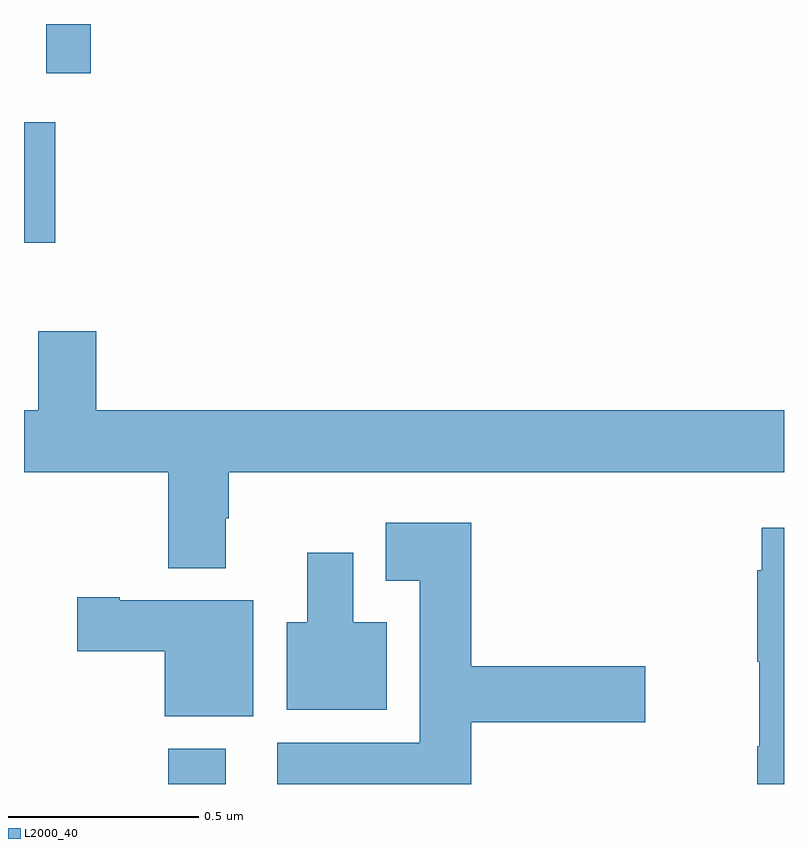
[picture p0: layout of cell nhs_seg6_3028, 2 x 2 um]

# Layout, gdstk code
import gdstk
lib = gdstk.Library(unit=1e-6, precision=1e-09)
def R(c, l, rs):  # rectangles x0, y0, x1, y1
    for r in rs: c.add(gdstk.rectangle(r[:2], r[2:], *l))
def P(c, l, *ps):  # polygons
    for p in ps: c.add(gdstk.Polygon(p, *l))
L2000_40 = (2000, 40)

nhs_seg6_3028 = lib.new_cell('nhs_seg6_3028')
R(nhs_seg6_3028, L2000_40, [(151.379,962.5,151.531,962.593), (151,963.924,151.082,964.242), (151.058,964.371,151.175,964.5)])
P(nhs_seg6_3028, L2000_40, [(151.531,963.2),(151.539,963.2),(151.539,963.32),(153,963.32),(153,963.484),(151.19,963.484),(151.19,963.691),(151.037,963.691),(151.037,963.484),(151,963.484),(151,963.32),(151.379,963.32),(151.379,963.068),(151.531,963.068)],
  [(152.177,962.663),(152.635,962.663),(152.635,962.81),(152.177,962.81),(152.177,963.187),(151.952,963.187),(151.952,963.035),(152.042,963.035),(152.042,962.608),(151.667,962.608),(151.667,962.5),(152.177,962.5)],
  [(153,963.175),(152.942,963.175),(152.942,963.062),(152.93,963.062),(152.93,962.822),(152.935,962.822),(152.935,962.6),(152.93,962.6),(152.93,962.5),(153,962.5)],
  [(151.954,962.926),(151.867,962.926),(151.867,963.109),(151.745,963.109),(151.745,962.926),(151.691,962.926),(151.691,962.696),(151.954,962.696)],
  [(151.603,962.983),(151.252,962.983),(151.252,962.991),(151.14,962.991),(151.14,962.849),(151.37,962.849),(151.37,962.678),(151.603,962.678)])

lib.write_gds('nhs_seg6_3028.gds')
